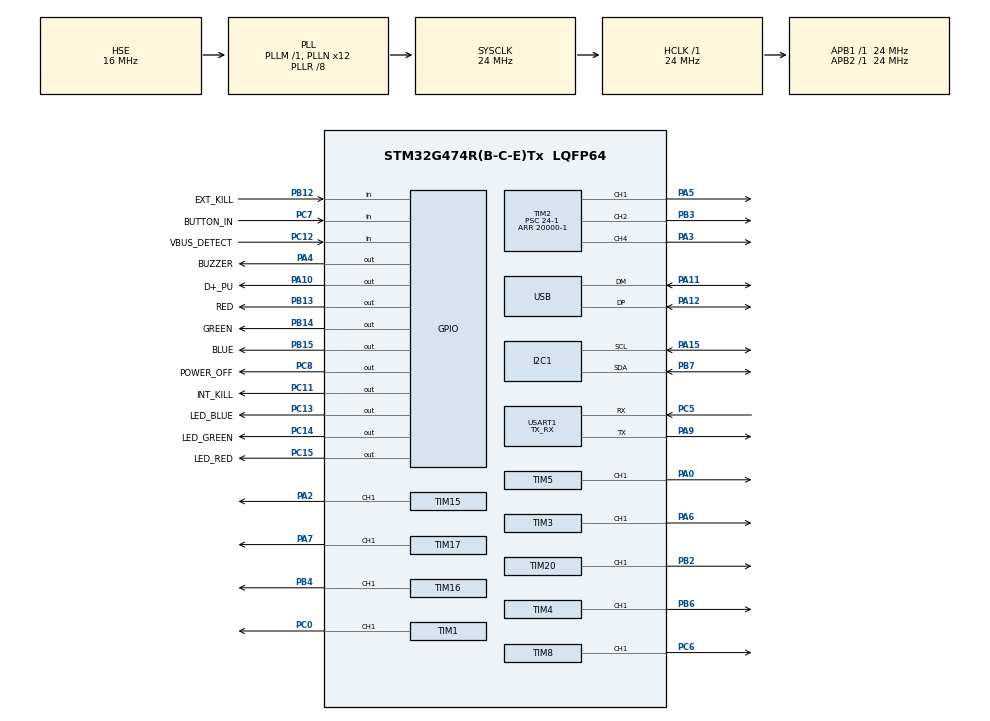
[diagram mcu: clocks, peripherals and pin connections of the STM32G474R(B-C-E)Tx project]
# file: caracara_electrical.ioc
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I2C1.Timing=0x00805C87
Mcu.Family=STM32G4
Mcu.Name=STM32G474R(B-C-E)Tx
Mcu.Package=LQFP64
NVIC.PriorityGroup=NVIC_PRIORITYGROUP_4
NVIC.TIM6_DAC_IRQn=true\:0\:0\:true\:false\:true\:true\:true\:true
NVIC.TIM7_DAC_IRQn=true\:1\:0\:true\:false\:true\:true\:true\:true
NVIC.USART1_IRQn=true\:2\:0\:true\:false\:true\:true\:true\:true
NVIC.USB_LP_IRQn=true\:0\:0\:false\:false\:true\:false\:true\:true
PA0.Signal=S_TIM5_CH1
PA10.GPIO_Label=D+_PU
PA10.Signal=GPIO_Output
PA11.Mode=Device
PA11.Signal=USB_DM
PA12.Mode=Device
PA12.Signal=USB_DP
PA13.Mode=Serial_Wire
PA13.Signal=SYS_JTMS-SWDIO
PA14.Mode=Serial_Wire
PA14.Signal=SYS_JTCK-SWCLK
PA15.Mode=I2C
PA15.Signal=I2C1_SCL
PA2.Signal=S_TIM15_CH1
PA3.Signal=S_TIM2_CH4
PA4.GPIO_Label=BUZZER
PA4.Signal=GPIO_Output
PA5.Signal=S_TIM2_CH1
PA6.Signal=S_TIM3_CH1
PA7.Signal=S_TIM17_CH1
PA9.Mode=Asynchronous
PA9.Signal=USART1_TX
PB12.GPIO_Label=EXT_KILL
PB12.GPIO_PuPd=GPIO_PULLDOWN
PB12.Signal=GPIO_Input
PB13.GPIO_Label=RED
PB13.Signal=GPIO_Output
PB14.GPIO_Label=GREEN
PB14.Signal=GPIO_Output
PB15.GPIO_Label=BLUE
PB15.Signal=GPIO_Output
PB2.Signal=S_TIM20_CH1
PB3.Signal=S_TIM2_CH2
PB4.Signal=S_TIM16_CH1
PB6.Signal=S_TIM4_CH1
PB7.Mode=I2C
PB7.Signal=I2C1_SDA
PC0.Signal=S_TIM1_CH1
PC11.GPIO_Label=INT_KILL
PC11.Signal=GPIO_Output
PC12.GPIO_Label=VBUS_DETECT
PC12.GPIO_PuPd=GPIO_PULLDOWN
PC12.Signal=GPIO_Input
PC13.GPIO_Label=LED_BLUE
PC13.Signal=GPIO_Output
PC14-OSC32_IN.GPIO_Label=LED_GREEN
PC14-OSC32_IN.Signal=GPIO_Output
PC15-OSC32_OUT.GPIO_Label=LED_RED
PC15-OSC32_OUT.Signal=GPIO_Output
PC5.Mode=Asynchronous
PC5.Signal=USART1_RX
PC6.Signal=S_TIM8_CH1
PC7.GPIO_Label=BUTTON_IN
PC7.GPIO_PuPd=GPIO_PULLUP
PC7.Signal=GPIO_Input
PC8.GPIO_Label=POWER_OFF
PC8.Signal=GPIO_Output
PF0-OSC_IN.Mode=HSE-External-Oscillator
PF0-OSC_IN.Signal=RCC_OSC_IN
PF1-OSC_OUT.Mode=HSE-External-Oscillator
PF1-OSC_OUT.Signal=RCC_OSC_OUT
ProjectManager.HeapSize=0x200
ProjectManager.StackSize=0x400
ProjectManager.TargetToolchain=STM32CubeIDE
RCC.ADC12Freq_Value=24000000
RCC.ADC345Freq_Value=24000000
RCC.AHBFreq_Value=24000000
RCC.APB1Freq_Value=24000000
RCC.APB1TimFreq_Value=24000000
RCC.APB2Freq_Value=24000000
RCC.APB2TimFreq_Value=24000000
RCC.CortexFreq_Value=24000000
RCC.EXTERNAL_CLOCK_VALUE=12288000
RCC.HCLKFreq_Value=24000000
RCC.HSE_VALUE=16000000
RCC.HSI48_VALUE=48000000
RCC.HSI_VALUE=16000000
RCC.LSE_VALUE=32768
RCC.PLLN=12
RCC.PLLQ=RCC_PLLQ_DIV4
RCC.PLLR=RCC_PLLR_DIV8
RCC.PLLSourceVirtual=RCC_PLLSOURCE_HSE
RCC.SYSCLKFreq_VALUE=24000000
RCC.SYSCLKSource=RCC_SYSCLKSOURCE_PLLCLK
RCC.USBFreq_Value=48000000
RCC.VCOOutputFreq_Value=192000000
SH.S_TIM15_CH1.0=TIM15_CH1,PWM Generation1 CH1
SH.S_TIM16_CH1.0=TIM16_CH1,PWM Generation1 CH1
SH.S_TIM17_CH1.0=TIM17_CH1,PWM Generation1 CH1
SH.S_TIM1_CH1.0=TIM1_CH1,PWM Generation1 CH1
SH.S_TIM20_CH1.0=TIM20_CH1,PWM Generation1 CH1
SH.S_TIM2_CH1.0=TIM2_CH1,PWM Generation1 CH1
SH.S_TIM2_CH2.0=TIM2_CH2,PWM Generation2 CH2
SH.S_TIM2_CH4.0=TIM2_CH4,PWM Generation4 CH4
SH.S_TIM3_CH1.0=TIM3_CH1,PWM Generation1 CH1
SH.S_TIM4_CH1.0=TIM4_CH1,PWM Generation1 CH1
SH.S_TIM5_CH1.0=TIM5_CH1,PWM Generation1 CH1
SH.S_TIM8_CH1.0=TIM8_CH1,PWM Generation1 CH1
TIM1.AutoReloadPreload=TIM_AUTORELOAD_PRELOAD_ENABLE
TIM1.Channel-PWM\ Generation1\ CH1=TIM_CHANNEL_1
TIM1.PeriodNoDither=20000-1
TIM1.Prescaler=24-1
TIM15.AutoReloadPreload=TIM_AUTORELOAD_PRELOAD_ENABLE
TIM15.Channel-PWM\ Generation1\ CH1=TIM_CHANNEL_1
TIM15.PeriodNoDither=20000-1
TIM15.Prescaler=24-1
TIM16.AutoReloadPreload=TIM_AUTORELOAD_PRELOAD_ENABLE
TIM16.Channel=TIM_CHANNEL_1
TIM16.PeriodNoDither=20000-1
TIM16.Prescaler=14-1
TIM17.AutoReloadPreload=TIM_AUTORELOAD_PRELOAD_ENABLE
TIM17.Channel=TIM_CHANNEL_1
TIM17.PeriodNoDither=20000-1
TIM17.Prescaler=24-1
TIM2.AutoReloadPreload=TIM_AUTORELOAD_PRELOAD_ENABLE
TIM2.Channel-PWM\ Generation1\ CH1=TIM_CHANNEL_1
TIM2.Channel-PWM\ Generation2\ CH2=TIM_CHANNEL_2
TIM2.Channel-PWM\ Generation4\ CH4=TIM_CHANNEL_4
TIM2.PeriodNoDither=20000-1
TIM2.Prescaler=24-1
TIM20.AutoReloadPreload=TIM_AUTORELOAD_PRELOAD_ENABLE
TIM20.Channel-PWM\ Generation1\ CH1=TIM_CHANNEL_1
TIM20.PeriodNoDither=20000-1
TIM20.Prescaler=24-1
TIM3.AutoReloadPreload=TIM_AUTORELOAD_PRELOAD_ENABLE
TIM3.Channel-PWM\ Generation1\ CH1=TIM_CHANNEL_1
TIM3.PeriodNoDither=20000-1
TIM3.Prescaler=24-1
TIM4.AutoReloadPreload=TIM_AUTORELOAD_PRELOAD_ENABLE
TIM4.Channel-PWM\ Generation1\ CH1=TIM_CHANNEL_1
TIM4.PeriodNoDither=20000-1
TIM4.Prescaler=24-1
TIM5.AutoReloadPreload=TIM_AUTORELOAD_PRELOAD_ENABLE
TIM5.Channel-PWM\ Generation1\ CH1=TIM_CHANNEL_1
TIM5.PeriodNoDither=20000-1
TIM5.Prescaler=24-1
TIM6.Prescaler=900
TIM7.Prescaler=850
TIM8.AutoReloadPreload=TIM_AUTORELOAD_PRELOAD_ENABLE
TIM8.Channel-PWM\ Generation1\ CH1=TIM_CHANNEL_1
TIM8.PeriodNoDither=20000-1
TIM8.Prescaler=24-1
USART1.Mode=MODE_TX_RX
USART1.VirtualMode-Asynchronous=VM_ASYNC
USB.lpm_enable=DISABLE
USB_DEVICE.CLASS_NAME_FS=CDC
USB_DEVICE.VirtualMode=Cdc
USB_DEVICE.VirtualModeFS=Cdc_FS
VP_SYS_VS_DBSignals.Mode=DisableDeadBatterySignals
VP_TIM16_VS_ClockSourceINT.Mode=Enable_Timer
VP_TIM17_VS_ClockSourceINT.Mode=Enable_Timer
VP_TIM6_VS_ClockSourceINT.Mode=Enable_Timer
VP_TIM7_VS_ClockSourceINT.Mode=Enable_Timer
VP_USB_DEVICE_VS_USB_DEVICE_CDC_FS.Mode=CDC_FS
board=custom

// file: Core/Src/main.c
/* USER CODE BEGIN Header */
/**
  ******************************************************************************
  * @file           : main.c
  * @brief          : Main program body
  ******************************************************************************
  * @attention
  *
  * Copyright (c) 2024 STMicroelectronics.
  * All rights reserved.
  *
  * This software is licensed under terms that can be found in the LICENSE file
  * in the root directory of this software component.
  * If no LICENSE file comes with this software, it is provided AS-IS.
  *
  ******************************************************************************
  */
/* USER CODE END Header */
#include "main.h"			//HAL and MCU stuff
#include "usb_device.h"		//middleware

#include "system_state.h"   //all modules
#include "button_state.h"
#include "motor_control.h"
#include "power_manager.h"
#include "rgb_led.h"
#include "safety_manager.h"
#include "usb_manager.h"
#include "depth_sensor.h"
#include "torpedo.h"
#include "dropper.h"
#include "grabber.h"
#include "bitmask.h"

/* USER CODE BEGIN Includes */
#include "usbd_cdc_if.h"
//#include "i2c.h"
//#include "gpio.h"
#include <inttypes.h>  // For PRI format specifiers
/* USER CODE END Includes */

/* USER CODE BEGIN PD */
void Set_TIM_Compare(TIM_HandleTypeDef *htim, int32_t receivedVal);
/* USER CODE END PD */

I2C_HandleTypeDef hi2c1;

TIM_HandleTypeDef htim1;
TIM_HandleTypeDef htim2;
TIM_HandleTypeDef htim3;
TIM_HandleTypeDef htim4;
TIM_HandleTypeDef htim5;
TIM_HandleTypeDef htim6;
TIM_HandleTypeDef htim7;
TIM_HandleTypeDef htim8;
TIM_HandleTypeDef htim15;
TIM_HandleTypeDef htim16;
TIM_HandleTypeDef htim17;
TIM_HandleTypeDef htim20;

UART_HandleTypeDef huart1;

/* USER CODE BEGIN PV */
uint8_t usb_tx_buffer[64] = "Smoke runtz\r\n";  //this buffer appears to only be used for debugging messages, as all useful telemetry is sent over uart

uint8_t redString[] = "red\r\n";

int32_t usbBuffer[16];

uint16_t adcInt = 0;
uint8_t rx_data = 0;

SystemState state;

/* USER CODE END PV */

void SystemClock_Config(void);
static void MX_GPIO_Init(void);
static void MX_TIM1_Init(void);
static void MX_TIM2_Init(void);
static void MX_TIM3_Init(void);
static void MX_TIM4_Init(void);
static void MX_TIM5_Init(void);
static void MX_TIM8_Init(void);
static void MX_TIM15_Init(void);
static void MX_TIM16_Init(void);
static void MX_TIM17_Init(void);
static void MX_TIM20_Init(void);
static void MX_USART1_UART_Init(void);
static void MX_TIM6_Init(void);
static void MX_TIM7_Init(void);
static void MX_I2C1_Init(void);

/* USER CODE BEGIN PFP */
uint8_t crc4(uint16_t coefficients[]);
/* USER CODE END PFP */

int main(void)
{

  /* MCU Configuration--------------------------------------------------------*/

  /* Reset of all peripherals, Initializes the Flash interface and the Systick. */
  HAL_Init();

  /* Configure the system clock */
  SystemClock_Config();

  /* Initialize all configured peripherals */
  MX_GPIO_Init();
  MX_TIM1_Init();
  MX_TIM2_Init();
  MX_TIM3_Init();
  MX_TIM4_Init();
  MX_TIM5_Init();
  MX_TIM8_Init();
  MX_TIM15_Init();
  MX_TIM16_Init();
  MX_TIM17_Init();
  MX_TIM20_Init();
  MX_USB_Device_Init();
  MX_USART1_UART_Init();
  MX_TIM6_Init();
  MX_TIM7_Init();
  MX_I2C1_Init();
  /* USER CODE BEGIN 2 */

  Bitmask_Init(&state);

  Motor_Init(&state); //start pwms for motors, torpedo, dropper, and grabber

  Torpedo_Init(&state);

  Dropper_Init(&state);

  Grabber_Init(&state);

  HAL_GPIO_WritePin(GPIOC, LED_BLUE_Pin|LED_GREEN_Pin|LED_RED_Pin, GPIO_PIN_RESET); //fires external LEDS

  HAL_TIM_Base_Start_IT(&htim6); //idk remmember what this does - some interrupt...hmmmm -

  if (Depth_Sensor_Init(&hi2c1, &state) != HAL_OK)
  {
      strcpy((char*)usb_tx_buffer, "Depth sensor init failed!\r\n");
      CDC_Transmit_FS((uint8_t *)usb_tx_buffer, strlen((char*)usb_tx_buffer));
  }

  /* USER CODE END 2 */

  /* Infinite loop */
  /* USER CODE BEGIN WHILE */
  while (1)
  {

	  SystemState_ApplyPendingUpdate(&state); //atomic update of the usbBuffer.

	  //system state updates upon USB transmission
	  USB_Manager_Update(&state); //checks connection

	  RGB_LED_Update(&state); //cosmetic update

	  Safety_Manager_Update(&state); //check kill states

	  Motor_Update(); //apply motor commands

	  Dropper_Update(); //apply dropper commands

	  Torpedo_Update(); //apply torpedo commands

	  Grabber_Update(); //ooooooooh monkey AHAHAHAHAHA

	  Button_Update(&state); //handle button input

	  Power_Down(&state); //power off if flagged by button or ORIN input

	  Depth_Sensor_Update(); //

    /* USER CODE END WHILE */

  }
}

void SystemClock_Config(void)
{
  RCC_OscInitTypeDef RCC_OscInitStruct = {0};
  RCC_ClkInitTypeDef RCC_ClkInitStruct = {0};

  /** Configure the main internal regulator output voltage
  */
  HAL_PWREx_ControlVoltageScaling(PWR_REGULATOR_VOLTAGE_SCALE1);

  /** Initializes the RCC Oscillators according to the specified parameters
  * in the RCC_OscInitTypeDef structure.
  */
  RCC_OscInitStruct.OscillatorType = RCC_OSCILLATORTYPE_HSE;
  RCC_OscInitStruct.HSEState = RCC_HSE_ON;
  RCC_OscInitStruct.PLL.PLLState = RCC_PLL_ON;
  RCC_OscInitStruct.PLL.PLLSource = RCC_PLLSOURCE_HSE;
  RCC_OscInitStruct.PLL.PLLM = RCC_PLLM_DIV1;
  RCC_OscInitStruct.PLL.PLLN = 12;
  RCC_OscInitStruct.PLL.PLLP = RCC_PLLP_DIV2;
  RCC_OscInitStruct.PLL.PLLQ = RCC_PLLQ_DIV4;
  RCC_OscInitStruct.PLL.PLLR = RCC_PLLR_DIV8;
  if (HAL_RCC_OscConfig(&RCC_OscInitStruct) != HAL_OK)
  {
    Error_Handler();
  }

  /** Initializes the CPU, AHB and APB buses clocks
  */
  RCC_ClkInitStruct.ClockType = RCC_CLOCKTYPE_HCLK|RCC_CLOCKTYPE_SYSCLK
                              |RCC_CLOCKTYPE_PCLK1|RCC_CLOCKTYPE_PCLK2;
  RCC_ClkInitStruct.SYSCLKSource = RCC_SYSCLKSOURCE_PLLCLK;
  RCC_ClkInitStruct.AHBCLKDivider = RCC_SYSCLK_DIV1;
  RCC_ClkInitStruct.APB1CLKDivider = RCC_HCLK_DIV1;
  RCC_ClkInitStruct.APB2CLKDivider = RCC_HCLK_DIV1;

  if (HAL_RCC_ClockConfig(&RCC_ClkInitStruct, FLASH_LATENCY_0) != HAL_OK)
  {
    Error_Handler();
  }
}

static void MX_I2C1_Init(void)
{

  hi2c1.Instance = I2C1;
  hi2c1.Init.Timing = 0x00805C87;
  hi2c1.Init.OwnAddress1 = 0;
  hi2c1.Init.AddressingMode = I2C_ADDRESSINGMODE_7BIT;
  hi2c1.Init.DualAddressMode = I2C_DUALADDRESS_DISABLE;
  hi2c1.Init.OwnAddress2 = 0;
  hi2c1.Init.OwnAddress2Masks = I2C_OA2_NOMASK;
  hi2c1.Init.GeneralCallMode = I2C_GENERALCALL_DISABLE;
  hi2c1.Init.NoStretchMode = I2C_NOSTRETCH_DISABLE;
  if (HAL_I2C_Init(&hi2c1) != HAL_OK)
  {
    Error_Handler();
  }

  /** Configure Analogue filter
  */
  if (HAL_I2CEx_ConfigAnalogFilter(&hi2c1, I2C_ANALOGFILTER_ENABLE) != HAL_OK)
  {
    Error_Handler();
  }

  /** Configure Digital filter
  */
  if (HAL_I2CEx_ConfigDigitalFilter(&hi2c1, 0) != HAL_OK)
  {
    Error_Handler();
  }

}

static void MX_TIM1_Init(void)
{

  TIM_MasterConfigTypeDef sMasterConfig = {0};
  TIM_OC_InitTypeDef sConfigOC = {0};
  TIM_BreakDeadTimeConfigTypeDef sBreakDeadTimeConfig = {0};

  htim1.Instance = TIM1;
  htim1.Init.Prescaler = 24-1;
  htim1.Init.CounterMode = TIM_COUNTERMODE_UP;
  htim1.Init.Period = 20000;
  htim1.Init.ClockDivision = TIM_CLOCKDIVISION_DIV1;
  htim1.Init.RepetitionCounter = 0;
  htim1.Init.AutoReloadPreload = TIM_AUTORELOAD_PRELOAD_ENABLE;
  if (HAL_TIM_PWM_Init(&htim1) != HAL_OK)
  {
    Error_Handler();
  }
  sMasterConfig.MasterOutputTrigger = TIM_TRGO_RESET;
  sMasterConfig.MasterOutputTrigger2 = TIM_TRGO2_RESET;
  sMasterConfig.MasterSlaveMode = TIM_MASTERSLAVEMODE_DISABLE;
  if (HAL_TIMEx_MasterConfigSynchronization(&htim1, &sMasterConfig) != HAL_OK)
  {
    Error_Handler();
  }
  sConfigOC.OCMode = TIM_OCMODE_PWM1;
  sConfigOC.Pulse = 0;
  sConfigOC.OCPolarity = TIM_OCPOLARITY_HIGH;
  sConfigOC.OCNPolarity = TIM_OCNPOLARITY_HIGH;
  sConfigOC.OCFastMode = TIM_OCFAST_DISABLE;
  sConfigOC.OCIdleState = TIM_OCIDLESTATE_RESET;
  sConfigOC.OCNIdleState = TIM_OCNIDLESTATE_RESET;
  if (HAL_TIM_PWM_ConfigChannel(&htim1, &sConfigOC, TIM_CHANNEL_1) != HAL_OK)
  {
    Error_Handler();
  }
  sBreakDeadTimeConfig.OffStateRunMode = TIM_OSSR_DISABLE;
  sBreakDeadTimeConfig.OffStateIDLEMode = TIM_OSSI_DISABLE;
  sBreakDeadTimeConfig.LockLevel = TIM_LOCKLEVEL_OFF;
  sBreakDeadTimeConfig.DeadTime = 0;
  sBreakDeadTimeConfig.BreakState = TIM_BREAK_DISABLE;
  sBreakDeadTimeConfig.BreakPolarity = TIM_BREAKPOLARITY_HIGH;
  sBreakDeadTimeConfig.BreakFilter = 0;
  sBreakDeadTimeConfig.BreakAFMode = TIM_BREAK_AFMODE_INPUT;
  sBreakDeadTimeConfig.Break2State = TIM_BREAK2_DISABLE;
  sBreakDeadTimeConfig.Break2Polarity = TIM_BREAK2POLARITY_HIGH;
  sBreakDeadTimeConfig.Break2Filter = 0;
  sBreakDeadTimeConfig.Break2AFMode = TIM_BREAK_AFMODE_INPUT;
  sBreakDeadTimeConfig.AutomaticOutput = TIM_AUTOMATICOUTPUT_DISABLE;
  if (HAL_TIMEx_ConfigBreakDeadTime(&htim1, &sBreakDeadTimeConfig) != HAL_OK)
  {
    Error_Handler();
  }
  HAL_TIM_MspPostInit(&htim1);

}

static void MX_TIM2_Init(void)
{

  TIM_MasterConfigTypeDef sMasterConfig = {0};
  TIM_OC_InitTypeDef sConfigOC = {0};

  htim2.Instance = TIM2;
  htim2.Init.Prescaler = 24-1;
  htim2.Init.CounterMode = TIM_COUNTERMODE_UP;
  htim2.Init.Period = 20000-1;
  htim2.Init.ClockDivision = TIM_CLOCKDIVISION_DIV1;
  htim2.Init.AutoReloadPreload = TIM_AUTORELOAD_PRELOAD_ENABLE;
  if (HAL_TIM_PWM_Init(&htim2) != HAL_OK)
  {
    Error_Handler();
  }
  sMasterConfig.MasterOutputTrigger = TIM_TRGO_RESET;
  sMasterConfig.MasterSlaveMode = TIM_MASTERSLAVEMODE_DISABLE;
  if (HAL_TIMEx_MasterConfigSynchronization(&htim2, &sMasterConfig) != HAL_OK)
  {
    Error_Handler();
  }
  sConfigOC.OCMode = TIM_OCMODE_PWM1;
  sConfigOC.Pulse = 0;
  sConfigOC.OCPolarity = TIM_OCPOLARITY_HIGH;
  sConfigOC.OCFastMode = TIM_OCFAST_DISABLE;
  if (HAL_TIM_PWM_ConfigChannel(&htim2, &sConfigOC, TIM_CHANNEL_1) != HAL_OK)
  {
    Error_Handler();
  }
  if (HAL_TIM_PWM_ConfigChannel(&htim2, &sConfigOC, TIM_CHANNEL_4) != HAL_OK)
  {
      Error_Handler();
  }
  if (HAL_TIM_PWM_ConfigChannel(&htim2, &sConfigOC, TIM_CHANNEL_2) != HAL_OK)
  {
      Error_Handler();
  }

  HAL_TIM_MspPostInit(&htim2);

}

static void MX_TIM3_Init(void)
{

  TIM_MasterConfigTypeDef sMasterConfig = {0};
  TIM_OC_InitTypeDef sConfigOC = {0};

  htim3.Instance = TIM3;
  htim3.Init.Prescaler = 24-1;
  htim3.Init.CounterMode = TIM_COUNTERMODE_UP;
  htim3.Init.Period = 20000-1;
  htim3.Init.ClockDivision = TIM_CLOCKDIVISION_DIV1;
  htim3.Init.AutoReloadPreload = TIM_AUTORELOAD_PRELOAD_ENABLE;
  if (HAL_TIM_PWM_Init(&htim3) != HAL_OK)
  {
    Error_Handler();
  }
  sMasterConfig.MasterOutputTrigger = TIM_TRGO_RESET;
  sMasterConfig.MasterSlaveMode = TIM_MASTERSLAVEMODE_DISABLE;
  if (HAL_TIMEx_MasterConfigSynchronization(&htim3, &sMasterConfig) != HAL_OK)
  {
    Error_Handler();
  }
  sConfigOC.OCMode = TIM_OCMODE_PWM1;
  sConfigOC.Pulse = 0;
  sConfigOC.OCPolarity = TIM_OCPOLARITY_HIGH;
  sConfigOC.OCFastMode = TIM_OCFAST_DISABLE;
  if (HAL_TIM_PWM_ConfigChannel(&htim3, &sConfigOC, TIM_CHANNEL_1) != HAL_OK)
  {
    Error_Handler();
  }
  HAL_TIM_MspPostInit(&htim3);

}

static void MX_TIM4_Init(void)
{

  TIM_MasterConfigTypeDef sMasterConfig = {0};
  TIM_OC_InitTypeDef sConfigOC = {0};

  htim4.Instance = TIM4;
  htim4.Init.Prescaler = 24-1;
  htim4.Init.CounterMode = TIM_COUNTERMODE_UP;
  htim4.Init.Period = 20000-1;
  htim4.Init.ClockDivision = TIM_CLOCKDIVISION_DIV1;
  htim4.Init.AutoReloadPreload = TIM_AUTORELOAD_PRELOAD_ENABLE;
  if (HAL_TIM_PWM_Init(&htim4) != HAL_OK)
  {
    Error_Handler();
  }
  sMasterConfig.MasterOutputTrigger = TIM_TRGO_RESET;
  sMasterConfig.MasterSlaveMode = TIM_MASTERSLAVEMODE_DISABLE;
  if (HAL_TIMEx_MasterConfigSynchronization(&htim4, &sMasterConfig) != HAL_OK)
  {
    Error_Handler();
  }
  sConfigOC.OCMode = TIM_OCMODE_PWM1;
  sConfigOC.Pulse = 0;
  sConfigOC.OCPolarity = TIM_OCPOLARITY_HIGH;
  sConfigOC.OCFastMode = TIM_OCFAST_DISABLE;
  if (HAL_TIM_PWM_ConfigChannel(&htim4, &sConfigOC, TIM_CHANNEL_1) != HAL_OK)
  {
    Error_Handler();
  }
  HAL_TIM_MspPostInit(&htim4);

}

static void MX_TIM5_Init(void)
{

  TIM_MasterConfigTypeDef sMasterConfig = {0};
  TIM_OC_InitTypeDef sConfigOC = {0};

  htim5.Instance = TIM5;
  htim5.Init.Prescaler = 24-1;
  htim5.Init.CounterMode = TIM_COUNTERMODE_UP;
  htim5.Init.Period = 20000-1;
  htim5.Init.ClockDivision = TIM_CLOCKDIVISION_DIV1;
  htim5.Init.AutoReloadPreload = TIM_AUTORELOAD_PRELOAD_ENABLE;
  if (HAL_TIM_PWM_Init(&htim5) != HAL_OK)
  {
    Error_Handler();
  }
  sMasterConfig.MasterOutputTrigger = TIM_TRGO_RESET;
  sMasterConfig.MasterSlaveMode = TIM_MASTERSLAVEMODE_DISABLE;
  if (HAL_TIMEx_MasterConfigSynchronization(&htim5, &sMasterConfig) != HAL_OK)
  {
    Error_Handler();
  }
  sConfigOC.OCMode = TIM_OCMODE_PWM1;
  sConfigOC.Pulse = 0;
  sConfigOC.OCPolarity = TIM_OCPOLARITY_HIGH;
  sConfigOC.OCFastMode = TIM_OCFAST_DISABLE;
  if (HAL_TIM_PWM_ConfigChannel(&htim5, &sConfigOC, TIM_CHANNEL_1) != HAL_OK)
  {
    Error_Handler();
  }
  HAL_TIM_MspPostInit(&htim5);

}

static void MX_TIM6_Init(void)
{

  TIM_MasterConfigTypeDef sMasterConfig = {0};

  htim6.Instance = TIM6;
  htim6.Init.Prescaler = 900;
  htim6.Init.CounterMode = TIM_COUNTERMODE_UP;
  htim6.Init.Period = 65535;
  htim6.Init.AutoReloadPreload = TIM_AUTORELOAD_PRELOAD_DISABLE;
  if (HAL_TIM_Base_Init(&htim6) != HAL_OK)
  {
    Error_Handler();
  }
  sMasterConfig.MasterOutputTrigger = TIM_TRGO_RESET;
  sMasterConfig.MasterSlaveMode = TIM_MASTERSLAVEMODE_DISABLE;
  if (HAL_TIMEx_MasterConfigSynchronization(&htim6, &sMasterConfig) != HAL_OK)
  {
    Error_Handler();
  }
  /* USER CODE BEGIN TIM6_Init 2 */
  // Enable the TIM6 interrupt

  HAL_NVIC_SetPriority(TIM6_DAC_IRQn, 0, 0);
  HAL_NVIC_EnableIRQ(TIM6_DAC_IRQn);
  /* USER CODE END TIM6_Init 2 */

}

static void MX_TIM7_Init(void)
{

  TIM_MasterConfigTypeDef sMasterConfig = {0};

  htim7.Instance = TIM7;
  htim7.Init.Prescaler = 850;
  htim7.Init.CounterMode = TIM_COUNTERMODE_UP;
  htim7.Init.Period = 65535;
  htim7.Init.AutoReloadPreload = TIM_AUTORELOAD_PRELOAD_DISABLE;
  if (HAL_TIM_Base_Init(&htim7) != HAL_OK)
  {
    Error_Handler();
  }
  sMasterConfig.MasterOutputTrigger = TIM_TRGO_RESET;
  sMasterConfig.MasterSlaveMode = TIM_MASTERSLAVEMODE_DISABLE;
  if (HAL_TIMEx_MasterConfigSynchronization(&htim7, &sMasterConfig) != HAL_OK)
  {
    Error_Handler();
  }

}

static void MX_TIM8_Init(void)
{

  TIM_MasterConfigTypeDef sMasterConfig = {0};
  TIM_OC_InitTypeDef sConfigOC = {0};
  TIM_BreakDeadTimeConfigTypeDef sBreakDeadTimeConfig = {0};

  htim8.Instance = TIM8;
  htim8.Init.Prescaler = 24-1;
  htim8.Init.CounterMode = TIM_COUNTERMODE_UP;
  htim8.Init.Period = 20000-1;
  htim8.Init.ClockDivision = TIM_CLOCKDIVISION_DIV1;
  htim8.Init.RepetitionCounter = 0;
  htim8.Init.AutoReloadPreload = TIM_AUTORELOAD_PRELOAD_ENABLE;
  if (HAL_TIM_PWM_Init(&htim8) != HAL_OK)
  {
    Error_Handler();
  }
  sMasterConfig.MasterOutputTrigger = TIM_TRGO_RESET;
  sMasterConfig.MasterOutputTrigger2 = TIM_TRGO2_RESET;
  sMasterConfig.MasterSlaveMode = TIM_MASTERSLAVEMODE_DISABLE;
  if (HAL_TIMEx_MasterConfigSynchronization(&htim8, &sMasterConfig) != HAL_OK)
  {
    Error_Handler();
  }
  sConfigOC.OCMode = TIM_OCMODE_PWM1;
  sConfigOC.Pulse = 0;
  sConfigOC.OCPolarity = TIM_OCPOLARITY_HIGH;
  sConfigOC.OCNPolarity = TIM_OCNPOLARITY_HIGH;
  sConfigOC.OCFastMode = TIM_OCFAST_DISABLE;
  sConfigOC.OCIdleState = TIM_OCIDLESTATE_RESET;
  sConfigOC.OCNIdleState = TIM_OCNIDLESTATE_RESET;
  if (HAL_TIM_PWM_ConfigChannel(&htim8, &sConfigOC, TIM_CHANNEL_1) != HAL_OK)
  {
    Error_Handler();
  }
  sBreakDeadTimeConfig.OffStateRunMode = TIM_OSSR_DISABLE;
  sBreakDeadTimeConfig.OffStateIDLEMode = TIM_OSSI_DISABLE;
  sBreakDeadTimeConfig.LockLevel = TIM_LOCKLEVEL_OFF;
  sBreakDeadTimeConfig.DeadTime = 0;
  sBreakDeadTimeConfig.BreakState = TIM_BREAK_DISABLE;
  sBreakDeadTimeConfig.BreakPolarity = TIM_BREAKPOLARITY_HIGH;
  sBreakDeadTimeConfig.BreakFilter = 0;
  sBreakDeadTimeConfig.BreakAFMode = TIM_BREAK_AFMODE_INPUT;
  sBreakDeadTimeConfig.Break2State = TIM_BREAK2_DISABLE;
  sBreakDeadTimeConfig.Break2Polarity = TIM_BREAK2POLARITY_HIGH;
  sBreakDeadTimeConfig.Break2Filter = 0;
  sBreakDeadTimeConfig.Break2AFMode = TIM_BREAK_AFMODE_INPUT;
  sBreakDeadTimeConfig.AutomaticOutput = TIM_AUTOMATICOUTPUT_DISABLE;
  if (HAL_TIMEx_ConfigBreakDeadTime(&htim8, &sBreakDeadTimeConfig) != HAL_OK)
  {
    Error_Handler();
  }
  HAL_TIM_MspPostInit(&htim8);

}

static void MX_TIM15_Init(void)
{

  TIM_MasterConfigTypeDef sMasterConfig = {0};
  TIM_OC_InitTypeDef sConfigOC = {0};
  TIM_BreakDeadTimeConfigTypeDef sBreakDeadTimeConfig = {0};

  htim15.Instance = TIM15;
  htim15.Init.Prescaler = 24-1;
  htim15.Init.CounterMode = TIM_COUNTERMODE_UP;
  htim15.Init.Period = 20000-1;
  htim15.Init.ClockDivision = TIM_CLOCKDIVISION_DIV1;
  htim15.Init.RepetitionCounter = 0;
  htim15.Init.AutoReloadPreload = TIM_AUTORELOAD_PRELOAD_ENABLE;
  if (HAL_TIM_PWM_Init(&htim15) != HAL_OK)
  {
    Error_Handler();
  }
  sMasterConfig.MasterOutputTrigger = TIM_TRGO_RESET;
  sMasterConfig.MasterSlaveMode = TIM_MASTERSLAVEMODE_DISABLE;
  if (HAL_TIMEx_MasterConfigSynchronization(&htim15, &sMasterConfig) != HAL_OK)
  {
    Error_Handler();
  }
  sConfigOC.OCMode = TIM_OCMODE_PWM1;
  sConfigOC.Pulse = 0;
  sConfigOC.OCPolarity = TIM_OCPOLARITY_HIGH;
  sConfigOC.OCNPolarity = TIM_OCNPOLARITY_HIGH;
  sConfigOC.OCFastMode = TIM_OCFAST_DISABLE;
  sConfigOC.OCIdleState = TIM_OCIDLESTATE_RESET;
  sConfigOC.OCNIdleState = TIM_OCNIDLESTATE_RESET;
  if (HAL_TIM_PWM_ConfigChannel(&htim15, &sConfigOC, TIM_CHANNEL_1) != HAL_OK)
  {
    Error_Handler();
  }
  sBreakDeadTimeConfig.OffStateRunMode = TIM_OSSR_DISABLE;
  sBreakDeadTimeConfig.OffStateIDLEMode = TIM_OSSI_DISABLE;
  sBreakDeadTimeConfig.LockLevel = TIM_LOCKLEVEL_OFF;
  sBreakDeadTimeConfig.DeadTime = 0;
  sBreakDeadTimeConfig.BreakState = TIM_BREAK_DISABLE;
  sBreakDeadTimeConfig.BreakPolarity = TIM_BREAKPOLARITY_HIGH;
  sBreakDeadTimeConfig.BreakFilter = 0;
  sBreakDeadTimeConfig.AutomaticOutput = TIM_AUTOMATICOUTPUT_DISABLE;
  if (HAL_TIMEx_ConfigBreakDeadTime(&htim15, &sBreakDeadTimeConfig) != HAL_OK)
  {
    Error_Handler();
  }
  HAL_TIM_MspPostInit(&htim15);

}

static void MX_TIM16_Init(void)
{

  TIM_OC_InitTypeDef sConfigOC = {0};
  TIM_BreakDeadTimeConfigTypeDef sBreakDeadTimeConfig = {0};

  htim16.Instance = TIM16;
  htim16.Init.Prescaler = 24-1;
  htim16.Init.CounterMode = TIM_COUNTERMODE_UP;
  htim16.Init.Period = 20000-1;
  htim16.Init.ClockDivision = TIM_CLOCKDIVISION_DIV1;
  htim16.Init.RepetitionCounter = 0;
  htim16.Init.AutoReloadPreload = TIM_AUTORELOAD_PRELOAD_ENABLE;
  if (HAL_TIM_Base_Init(&htim16) != HAL_OK)
  {
    Error_Handler();
  }
  if (HAL_TIM_PWM_Init(&htim16) != HAL_OK)
  {
    Error_Handler();
  }
  sConfigOC.OCMode = TIM_OCMODE_PWM1;
  sConfigOC.Pulse = 0;
  sConfigOC.OCPolarity = TIM_OCPOLARITY_HIGH;
  sConfigOC.OCNPolarity = TIM_OCNPOLARITY_HIGH;
  sConfigOC.OCFastMode = TIM_OCFAST_DISABLE;
  sConfigOC.OCIdleState = TIM_OCIDLESTATE_RESET;
  sConfigOC.OCNIdleState = TIM_OCNIDLESTATE_RESET;
  if (HAL_TIM_PWM_ConfigChannel(&htim16, &sConfigOC, TIM_CHANNEL_1) != HAL_OK)
  {
    Error_Handler();
  }
  sBreakDeadTimeConfig.OffStateRunMode = TIM_OSSR_DISABLE;
  sBreakDeadTimeConfig.OffStateIDLEMode = TIM_OSSI_DISABLE;
  sBreakDeadTimeConfig.LockLevel = TIM_LOCKLEVEL_OFF;
  sBreakDeadTimeConfig.DeadTime = 0;
  sBreakDeadTimeConfig.BreakState = TIM_BREAK_DISABLE;
  sBreakDeadTimeConfig.BreakPolarity = TIM_BREAKPOLARITY_HIGH;
  sBreakDeadTimeConfig.BreakFilter = 0;
  sBreakDeadTimeConfig.AutomaticOutput = TIM_AUTOMATICOUTPUT_DISABLE;
  if (HAL_TIMEx_ConfigBreakDeadTime(&htim16, &sBreakDeadTimeConfig) != HAL_OK)
  {
    Error_Handler();
  }
  HAL_TIM_MspPostInit(&htim16);

}

static void MX_TIM17_Init(void)
{

  TIM_OC_InitTypeDef sConfigOC = {0};
  TIM_BreakDeadTimeConfigTypeDef sBreakDeadTimeConfig = {0};

  htim17.Instance = TIM17;
  htim17.Init.Prescaler = 24-1;
  htim17.Init.CounterMode = TIM_COUNTERMODE_UP;
  htim17.Init.Period = 20000-1;
  htim17.Init.ClockDivision = TIM_CLOCKDIVISION_DIV1;
  htim17.Init.RepetitionCounter = 0;
  htim17.Init.AutoReloadPreload = TIM_AUTORELOAD_PRELOAD_ENABLE;
  if (HAL_TIM_Base_Init(&htim17) != HAL_OK)
  {
    Error_Handler();
  }
  if (HAL_TIM_PWM_Init(&htim17) != HAL_OK)
  {
    Error_Handler();
  }
  sConfigOC.OCMode = TIM_OCMODE_PWM1;
  sConfigOC.Pulse = 0;
  sConfigOC.OCPolarity = TIM_OCPOLARITY_HIGH;
  sConfigOC.OCNPolarity = TIM_OCNPOLARITY_HIGH;
  sConfigOC.OCFastMode = TIM_OCFAST_DISABLE;
  sConfigOC.OCIdleState = TIM_OCIDLESTATE_RESET;
  sConfigOC.OCNIdleState = TIM_OCNIDLESTATE_RESET;
  if (HAL_TIM_PWM_ConfigChannel(&htim17, &sConfigOC, TIM_CHANNEL_1) != HAL_OK)
  {
    Error_Handler();
  }
  sBreakDeadTimeConfig.OffStateRunMode = TIM_OSSR_DISABLE;
  sBreakDeadTimeConfig.OffStateIDLEMode = TIM_OSSI_DISABLE;
  sBreakDeadTimeConfig.LockLevel = TIM_LOCKLEVEL_OFF;
  sBreakDeadTimeConfig.DeadTime = 0;
  sBreakDeadTimeConfig.BreakState = TIM_BREAK_DISABLE;
  sBreakDeadTimeConfig.BreakPolarity = TIM_BREAKPOLARITY_HIGH;
  sBreakDeadTimeConfig.BreakFilter = 0;
  sBreakDeadTimeConfig.AutomaticOutput = TIM_AUTOMATICOUTPUT_DISABLE;
  if (HAL_TIMEx_ConfigBreakDeadTime(&htim17, &sBreakDeadTimeConfig) != HAL_OK)
  {
    Error_Handler();
  }
  HAL_TIM_MspPostInit(&htim17);

}

static void MX_TIM20_Init(void)
{

  TIM_MasterConfigTypeDef sMasterConfig = {0};
  TIM_OC_InitTypeDef sConfigOC = {0};
  TIM_BreakDeadTimeConfigTypeDef sBreakDeadTimeConfig = {0};

  htim20.Instance = TIM20;
  htim20.Init.Prescaler = 24-1;
  htim20.Init.CounterMode = TIM_COUNTERMODE_UP;
  htim20.Init.Period = 20000-1;
  htim20.Init.ClockDivision = TIM_CLOCKDIVISION_DIV1;
  htim20.Init.RepetitionCounter = 0;
  htim20.Init.AutoReloadPreload = TIM_AUTORELOAD_PRELOAD_ENABLE;
  if (HAL_TIM_PWM_Init(&htim20) != HAL_OK)
  {
    Error_Handler();
  }
  sMasterConfig.MasterOutputTrigger = TIM_TRGO_RESET;
  sMasterConfig.MasterOutputTrigger2 = TIM_TRGO2_RESET;
  sMasterConfig.MasterSlaveMode = TIM_MASTERSLAVEMODE_DISABLE;
  if (HAL_TIMEx_MasterConfigSynchronization(&htim20, &sMasterConfig) != HAL_OK)
  {
    Error_Handler();
  }
  sConfigOC.OCMode = TIM_OCMODE_PWM1;
  sConfigOC.Pulse = 0;
  sConfigOC.OCPolarity = TIM_OCPOLARITY_HIGH;
  sConfigOC.OCNPolarity = TIM_OCNPOLARITY_HIGH;
  sConfigOC.OCFastMode = TIM_OCFAST_DISABLE;
  sConfigOC.OCIdleState = TIM_OCIDLESTATE_RESET;
  sConfigOC.OCNIdleState = TIM_OCNIDLESTATE_RESET;
  if (HAL_TIM_PWM_ConfigChannel(&htim20, &sConfigOC, TIM_CHANNEL_1) != HAL_OK)
  {
    Error_Handler();
  }
  sBreakDeadTimeConfig.OffStateRunMode = TIM_OSSR_DISABLE;
  sBreakDeadTimeConfig.OffStateIDLEMode = TIM_OSSI_DISABLE;
  sBreakDeadTimeConfig.LockLevel = TIM_LOCKLEVEL_OFF;
  sBreakDeadTimeConfig.DeadTime = 0;
  sBreakDeadTimeConfig.BreakState = TIM_BREAK_DISABLE;
  sBreakDeadTimeConfig.BreakPolarity = TIM_BREAKPOLARITY_HIGH;
  sBreakDeadTimeConfig.BreakFilter = 0;
  sBreakDeadTimeConfig.BreakAFMode = TIM_BREAK_AFMODE_INPUT;
  sBreakDeadTimeConfig.Break2State = TIM_BREAK2_DISABLE;
  sBreakDeadTimeConfig.Break2Polarity = TIM_BREAK2POLARITY_HIGH;
  sBreakDeadTimeConfig.Break2Filter = 0;
  sBreakDeadTimeConfig.Break2AFMode = TIM_BREAK_AFMODE_INPUT;
  sBreakDeadTimeConfig.AutomaticOutput = TIM_AUTOMATICOUTPUT_DISABLE;
  if (HAL_TIMEx_ConfigBreakDeadTime(&htim20, &sBreakDeadTimeConfig) != HAL_OK)
  {
    Error_Handler();
  }
  HAL_TIM_MspPostInit(&htim20);

}

static void MX_USART1_UART_Init(void)
{

  huart1.Instance = USART1;
  huart1.Init.BaudRate = 115200;
  huart1.Init.WordLength = UART_WORDLENGTH_8B;
  huart1.Init.StopBits = UART_STOPBITS_1;
  huart1.Init.Parity = UART_PARITY_NONE;
  huart1.Init.Mode = UART_MODE_TX_RX;
  huart1.Init.HwFlowCtl = UART_HWCONTROL_NONE;
  huart1.Init.OverSampling = UART_OVERSAMPLING_16;
  huart1.Init.OneBitSampling = UART_ONE_BIT_SAMPLE_DISABLE;
  huart1.Init.ClockPrescaler = UART_PRESCALER_DIV1;
  huart1.AdvancedInit.AdvFeatureInit = UART_ADVFEATURE_NO_INIT;
  if (HAL_UART_Init(&huart1) != HAL_OK)
  {
    Error_Handler();
  }
  if (HAL_UARTEx_SetTxFifoThreshold(&huart1, UART_TXFIFO_THRESHOLD_1_8) != HAL_OK)
  {
    Error_Handler();
  }
  if (HAL_UARTEx_SetRxFifoThreshold(&huart1, UART_RXFIFO_THRESHOLD_1_8) != HAL_OK)
  {
    Error_Handler();
  }
  if (HAL_UARTEx_DisableFifoMode(&huart1) != HAL_OK)
  {
    Error_Handler();
  }

}

static void MX_GPIO_Init(void)
{
  GPIO_InitTypeDef GPIO_InitStruct = {0};

  /* GPIO Ports Clock Enable */
  __HAL_RCC_GPIOC_CLK_ENABLE();
  __HAL_RCC_GPIOF_CLK_ENABLE();
  __HAL_RCC_GPIOA_CLK_ENABLE();
  __HAL_RCC_GPIOB_CLK_ENABLE();

  /*Configure GPIO pin Output Level */
  HAL_GPIO_WritePin(GPIOC, LED_BLUE_Pin|LED_GREEN_Pin|LED_RED_Pin|POWER_OFF_Pin
                          |INT_KILL_Pin, GPIO_PIN_RESET);

  /*Configure GPIO pin Output Level */
  HAL_GPIO_WritePin(GPIOA, BUZZER_Pin|D__PU_Pin, GPIO_PIN_RESET);

  /*Configure GPIO pin Output Level */
  HAL_GPIO_WritePin(GPIOB, RED_Pin|GREEN_Pin|BLUE_Pin, GPIO_PIN_RESET);

  /*Configure GPIO pins : LED_BLUE_Pin LED_GREEN_Pin LED_RED_Pin POWER_OFF_Pin
                           INT_KILL_Pin */
  GPIO_InitStruct.Pin = LED_BLUE_Pin|LED_GREEN_Pin|LED_RED_Pin|POWER_OFF_Pin
                          |INT_KILL_Pin;
  GPIO_InitStruct.Mode = GPIO_MODE_OUTPUT_PP;
  GPIO_InitStruct.Pull = GPIO_NOPULL;
  GPIO_InitStruct.Speed = GPIO_SPEED_FREQ_LOW;
  HAL_GPIO_Init(GPIOC, &GPIO_InitStruct);

  /*Configure GPIO pins : BUZZER_Pin D__PU_Pin */
  GPIO_InitStruct.Pin = BUZZER_Pin|D__PU_Pin;
  GPIO_InitStruct.Mode = GPIO_MODE_OUTPUT_PP;
  GPIO_InitStruct.Pull = GPIO_NOPULL;
  GPIO_InitStruct.Speed = GPIO_SPEED_FREQ_LOW;
  HAL_GPIO_Init(GPIOA, &GPIO_InitStruct);

  /*Configure GPIO pin : EXT_KILL_Pin */
  GPIO_InitStruct.Pin = EXT_KILL_Pin;
  GPIO_InitStruct.Mode = GPIO_MODE_INPUT;
  GPIO_InitStruct.Pull = GPIO_PULLDOWN;
  HAL_GPIO_Init(EXT_KILL_GPIO_Port, &GPIO_InitStruct);

  /*Configure GPIO pins : RED_Pin GREEN_Pin BLUE_Pin */
  GPIO_InitStruct.Pin = RED_Pin|GREEN_Pin|BLUE_Pin;
  GPIO_InitStruct.Mode = GPIO_MODE_OUTPUT_PP;
  GPIO_InitStruct.Pull = GPIO_NOPULL;
  GPIO_InitStruct.Speed = GPIO_SPEED_FREQ_LOW;
  HAL_GPIO_Init(GPIOB, &GPIO_InitStruct);

  /*Configure GPIO pin : BUTTON_IN_Pin */
  GPIO_InitStruct.Pin = BUTTON_IN_Pin;
  GPIO_InitStruct.Mode = GPIO_MODE_INPUT;
  GPIO_InitStruct.Pull = GPIO_PULLUP;
  HAL_GPIO_Init(BUTTON_IN_GPIO_Port, &GPIO_InitStruct);

  /*Configure GPIO pin : VBUS_DETECT_Pin */
  GPIO_InitStruct.Pin = VBUS_DETECT_Pin;
  GPIO_InitStruct.Mode = GPIO_MODE_INPUT;
  GPIO_InitStruct.Pull = GPIO_PULLDOWN;
  HAL_GPIO_Init(VBUS_DETECT_GPIO_Port, &GPIO_InitStruct);

}

/* USER CODE BEGIN 4 */

void HAL_TIM_PeriodElapsedCallback(TIM_HandleTypeDef *htim){ // this interrupt gets called when a timer overflows

	if (htim->Instance == TIM6) { // check if the timer 6 was the one that overflowed
		Button_TimerCallback();
	}

}

void HAL_UART_RxCpltCallback(UART_HandleTypeDef *huart)
{
    if (huart->Instance == USART1)
    {
        // Process the received data (in rx_data)
        // Example: Echo the received byte back to the sender
      //  HAL_UART_Transmit(&huart1, &rx_data, 1, HAL_MAX_DELAY);

        // Restart UART reception in interrupt mode for the next byte
        HAL_UART_Receive_IT(&huart1, &rx_data, 1);
    }
}

/* USER CODE END 4 */

void Error_Handler(void)
{
  __disable_irq();
  while (1)
  {
  }
}
